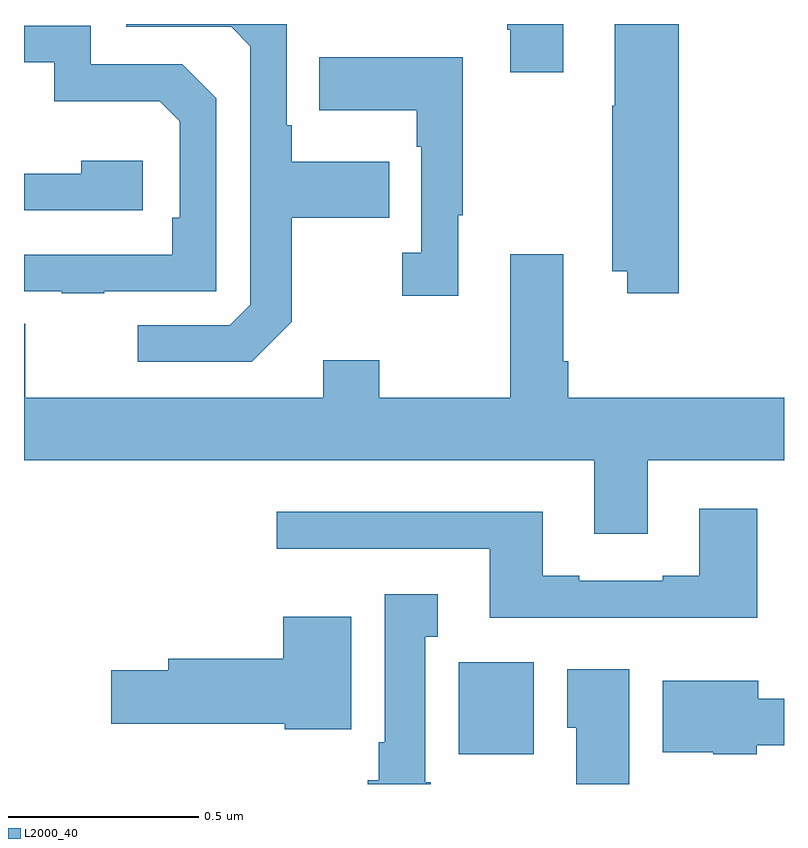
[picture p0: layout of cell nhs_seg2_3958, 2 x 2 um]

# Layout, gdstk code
import gdstk
lib = gdstk.Library(unit=1e-6, precision=1e-09)
def R(c, l, rs):  # rectangles x0, y0, x1, y1
    for r in rs: c.add(gdstk.rectangle(r[:2], r[2:], *l))
def P(c, l, *ps):  # polygons
    for p in ps: c.add(gdstk.Polygon(p, *l))
L2000_40 = (2000, 40)

nhs_seg2_3958 = lib.new_cell('nhs_seg2_3958')
R(nhs_seg2_3958, L2000_40, [(161.144,630.878,161.341,631.12)])
P(nhs_seg2_3958, L2000_40, [(161.419,632.8),(161.272,632.8),(161.272,632.785),(161.279,632.785),(161.279,632.673),(161.419,632.673)],
  [(161.723,632.8),(161.555,632.8),(161.555,632.585),(161.548,632.585),(161.548,632.15),(161.588,632.15),(161.588,632.091),(161.723,632.091)],
  [(160.705,632.017),(160.705,632.29),(160.961,632.29),(160.961,632.437),(160.705,632.437),(160.705,632.533),(160.692,632.533),(160.692,632.8),(160.269,632.8),(160.269,632.793),(160.545,632.793),(160.596,632.742),(160.596,632.061),(160.542,632.007),(160.299,632.007),(160.299,631.911),(160.599,631.911)],
  [(160.211,632.097),(160.506,632.097),(160.506,632.604),(160.416,632.694),(160.176,632.694),(160.176,632.796),(160,632.796),(160,632.7),(160.08,632.7),(160.08,632.597),(160.357,632.597),(160.41,632.544),(160.41,632.29),(160.39,632.29),(160.39,632.193),(160,632.193),(160,632.097),(160.099,632.097),(160.099,632.092),(160.211,632.092)],
  [(161.143,632.297),(161.155,632.297),(161.155,632.713),(160.777,632.713),(160.777,632.573),(161.034,632.573),(161.034,632.477),(161.046,632.477),(161.046,632.198),(160.995,632.198),(160.995,632.085),(161.143,632.085)],
  [(160.312,632.44),(160.151,632.44),(160.151,632.406),(160,632.406),(160,632.31),(160.312,632.31)],
  [(161.641,631.652),(162,631.652),(162,631.816),(161.432,631.816),(161.432,631.912),(161.419,631.912),(161.419,632.194),(161.279,632.194),(161.279,631.816),(160.935,631.816),(160.935,631.915),(160.787,631.915),(160.787,631.816),(160.003,631.816),(160.003,632.011),(160,632.011),(160,631.652),(161.501,631.652),(161.501,631.458),(161.641,631.458)],
  [(161.93,631.525),(161.777,631.525),(161.777,631.348),(161.681,631.348),(161.681,631.335),(161.461,631.335),(161.461,631.348),(161.365,631.348),(161.365,631.516),(160.665,631.516),(160.665,631.419),(161.225,631.419),(161.225,631.238),(161.93,631.238)],
  [(161.07,630.804),(161.056,630.804),(161.056,631.187),(161.089,631.187),(161.089,631.3),(160.949,631.3),(160.949,630.91),(160.934,630.91),(160.934,630.81),(160.904,630.81),(160.904,630.8),(161.07,630.8)],
  [(160.861,631.24),(160.682,631.24),(160.682,631.13),(160.379,631.13),(160.379,631.1),(160.23,631.1),(160.23,630.958),(160.686,630.958),(160.686,630.944),(160.861,630.944)],
  [(161.593,631.102),(161.429,631.102),(161.429,630.948),(161.453,630.948),(161.453,630.8),(161.593,630.8)],
  [(161.928,630.902),(162,630.902),(162,631.024),(161.932,631.024),(161.932,631.072),(161.681,631.072),(161.681,630.884),(161.814,630.884),(161.814,630.878),(161.928,630.878)])

lib.write_gds('nhs_seg2_3958.gds')
